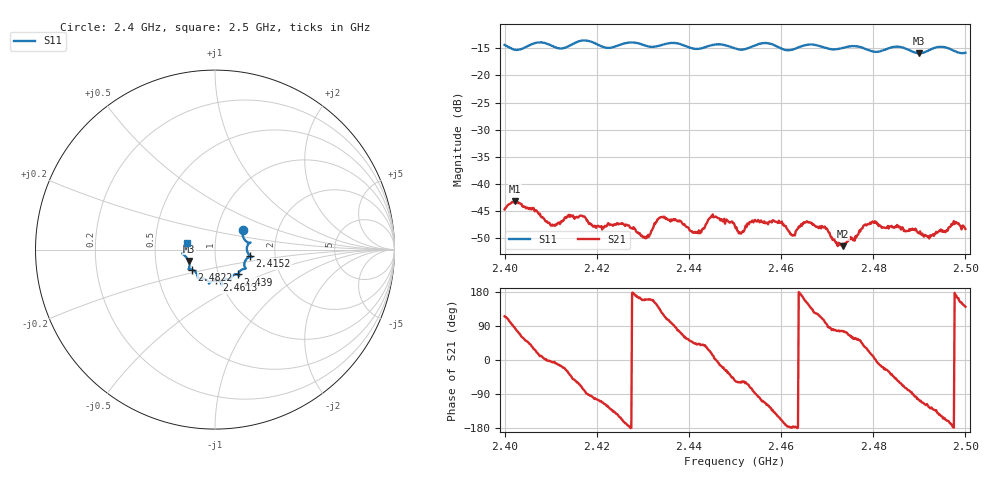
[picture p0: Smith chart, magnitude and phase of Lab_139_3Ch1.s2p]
# Hz S RI R 50
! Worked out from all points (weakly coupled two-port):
!   601 points, 2.4 GHz to 2.5 GHz, reference 50 ohm
!   highest |S21| = -43.21 dB at 2.4023 GHz (marker M1); lowest = -51.5 dB at 2.4735 GHz (marker M2)
!   lowest |S11| = -15.9 dB at 2.49 GHz (marker M3), VSWR 1.38, Z = 36.9 - j4.83 ohm
!   |S11| at or under -10 dB: start of sweep to end of sweep
!   S12 and S22 are empty: the file has one direction only
!   S11 on the Smith chart (normalised r, x): 2.4 GHz: 1.33, +0.31; 2.4152 GHz: 1.48, -0.11; 2.439 GHz: 1.24, -0.36; 2.4613 GHz: 0.96, -0.34; 2.4822 GHz: 0.76, -0.17; 2.5 GHz: 0.73, +0.05
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2.4e9  0.1556 0.1109  -0.00249 0.00526  0 0  0 0
2.402333e9  0.1565 0.0718  0.00093 0.00684  0 0  0 0
2.4105e9  0.1835 0.0275  0.00412 -0.000428  0 0  0 0
2.415167e9  0.1952 -0.0359  0.0029 -0.00379  0 0  0 0
2.416667e9  0.2049 -0.042  0.00179 -0.00478  0 0  0 0
2.4305e9  0.1528 -0.1105  -0.00298 0.00107  0 0  0 0
2.433333e9  0.1321 -0.1323  -0.00365 0.00303  0 0  0 0
2.439e9  0.1279 -0.1385  0.00212 0.0037  0 0  0 0
2.442167e9  0.0972 -0.1467  0.00273 0.00255  0 0  0 0
2.445333e9  0.0845 -0.1719  0.00485 0.000892  0 0  0 0
2.45e9  0.0687 -0.1635  0.00234 -0.00331  0 0  0 0
2.451333e9  0.053 -0.1646  0.00189 -0.00293  0 0  0 0
2.458667e9  0.0361 -0.1854  -0.00337 -0.00296  0 0  0 0
2.461333e9  0.00719 -0.1706  -0.00382 -0.000314  0 0  0 0
2.4625e9  -0.01 -0.173  -0.00333 -0.000234  0 0  0 0
2.466667e9  -0.0334 -0.1898  -0.00305 0.00313  0 0  0 0
2.4735e9  -0.082 -0.1602  0.000633 0.00259  0 0  0 0
2.478333e9  -0.0979 -0.1456  0.00355 0.00232  0 0  0 0
2.482167e9  -0.1282 -0.1118  0.00375 -0.00133  0 0  0 0
2.483333e9  -0.1395 -0.1103  0.00334 -0.00197  0 0  0 0
2.49e9  -0.1469 -0.0637  -0.000977 -0.00337  0 0  0 0
2.5e9  -0.1582 0.0343  -0.00297 0.00244  0 0  0 0
